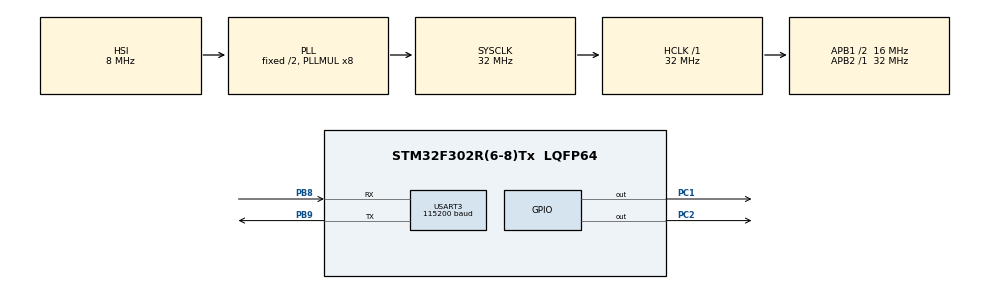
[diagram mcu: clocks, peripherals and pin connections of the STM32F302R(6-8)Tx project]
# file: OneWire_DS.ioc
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Mcu.Family=STM32F3
Mcu.Name=STM32F302R(6-8)Tx
Mcu.Package=LQFP64
NVIC.PriorityGroup=NVIC_PRIORITYGROUP_4
PB8.Mode=Asynchronous
PB8.Signal=USART3_RX
PB9.Mode=Asynchronous
PB9.Signal=USART3_TX
PC1.GPIO_ModeDefaultOutputPP=GPIO_MODE_OUTPUT_OD
PC1.GPIO_PuPd=GPIO_PULLUP
PC1.Signal=GPIO_Output
PC2.PinState=GPIO_PIN_SET
PC2.Signal=GPIO_Output
PF0-OSC_IN.Mode=HSE-External-Oscillator
PF0-OSC_IN.Signal=RCC_OSC_IN
PF1-OSC_OUT.Mode=HSE-External-Oscillator
PF1-OSC_OUT.Signal=RCC_OSC_OUT
ProjectManager.HeapSize=0x200
ProjectManager.StackSize=0x400
ProjectManager.TargetToolchain=MDK-ARM V5.27
RCC.AHBFreq_Value=32000000
RCC.APB1CLKDivider=RCC_HCLK_DIV2
RCC.APB1Freq_Value=16000000
RCC.APB1TimFreq_Value=32000000
RCC.APB2Freq_Value=32000000
RCC.APB2TimFreq_Value=32000000
RCC.CortexFreq_Value=32000000
RCC.HCLKFreq_Value=32000000
RCC.HSE_VALUE=8000000
RCC.HSI_VALUE=8000000
RCC.LSE_VALUE=32768
RCC.PLLMUL=RCC_PLL_MUL8
RCC.SYSCLKFreq_VALUE=32000000
RCC.SYSCLKSourceVirtual=RCC_SYSCLKSOURCE_PLLCLK
RCC.USBFreq_Value=32000000
TIM6.Period=0xffff-1
TIM6.Prescaler=32-1
USART3.BaudRate=115200
USART3.VirtualMode-Asynchronous=VM_ASYNC
VP_TIM6_VS_ClockSourceINT.Mode=Enable_Timer
board=custom

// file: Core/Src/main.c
/* USER CODE BEGIN Header */
/**
  ******************************************************************************
  * @file           : main.c
  * @brief          : Main program body
  ******************************************************************************
  * @attention
  *
  * <h2><center>&copy; Copyright (c) 2021 STMicroelectronics.
  * All rights reserved.</center></h2>
  *
  * This software component is licensed by ST under BSD 3-Clause license,
  * the "License"; You may not use this file except in compliance with the
  * License. You may obtain a copy of the License at:
  *                        opensource.org/licenses/BSD-3-Clause
  *
  ******************************************************************************
  */
/* USER CODE END Header */
#include "main.h"

/* USER CODE BEGIN Includes */
#include "OneWire_Hi4Tech.h"
#include "seqAnalysis.h"
#include "stdio.h"
#include "freqAnalysis.h"
/* USER CODE END Includes */

/* USER CODE BEGIN PTD */
#define DS28E18_PORT GPIOC
#define DS28E18_PIN GPIO_PIN_2
#define PullUp_Pin GPIO_PIN_1

/* USER CODE END PTD */

TIM_HandleTypeDef htim6;

UART_HandleTypeDef huart3;

/* USER CODE BEGIN PV */
char huart2[16];

/* USER CODE END PV */

void SystemClock_Config(void);
static void MX_GPIO_Init(void);
static void MX_TIM6_Init(void);
static void MX_USART3_UART_Init(void);
/* USER CODE BEGIN PFP */
freqAnalyser anal, anal2;
/* USER CODE END PFP */

int main(void)
{

  /* MCU Configuration--------------------------------------------------------*/

  /* Reset of all peripherals, Initializes the Flash interface and the Systick. */
  HAL_Init();

  /* Configure the system clock */
  SystemClock_Config();

  /* Initialize all configured peripherals */
  MX_GPIO_Init();
  MX_TIM6_Init();
  MX_USART3_UART_Init();
  /* USER CODE BEGIN 2 */
	HAL_TIM_Base_Start(&htim6);
	init_mask();
	HAL_GPIO_WritePin(GPIOC, PullUp_Pin, GPIO_PIN_SET);
	init_OW();
	anal = initAnaliser(60./60.);
	anal2 = initAnaliser(75./60.);
  /* USER CODE END 2 */

  /* Infinite loop */
  /* USER CODE BEGIN WHILE */
	uint32_t t0 = HAL_GetTick();
  while (1)
  {
    /* USER CODE END WHILE */

    /* USER CODE BEGIN 3 */

			int16_t val = run_OW();
			if (val < 2000){
				uint32_t t1 = HAL_GetTick();
				processSet(&anal, t1 - t0);
				t0 = t1;
				HAL_UART_Transmit(&huart3, (uint8_t*)huart2, sprintf(huart2, "filter  = %f\n", getScoreSquare(&anal)), 20);
			}

	}
  /* USER CODE END 3 */
}

void SystemClock_Config(void)
{
  RCC_OscInitTypeDef RCC_OscInitStruct = {0};
  RCC_ClkInitTypeDef RCC_ClkInitStruct = {0};

  /** Initializes the RCC Oscillators according to the specified parameters
  * in the RCC_OscInitTypeDef structure.
  */
  RCC_OscInitStruct.OscillatorType = RCC_OSCILLATORTYPE_HSI;
  RCC_OscInitStruct.HSIState = RCC_HSI_ON;
  RCC_OscInitStruct.HSICalibrationValue = RCC_HSICALIBRATION_DEFAULT;
  RCC_OscInitStruct.PLL.PLLState = RCC_PLL_ON;
  RCC_OscInitStruct.PLL.PLLSource = RCC_PLLSOURCE_HSI;
  RCC_OscInitStruct.PLL.PLLMUL = RCC_PLL_MUL8;
  if (HAL_RCC_OscConfig(&RCC_OscInitStruct) != HAL_OK)
  {
    Error_Handler();
  }
  /** Initializes the CPU, AHB and APB buses clocks
  */
  RCC_ClkInitStruct.ClockType = RCC_CLOCKTYPE_HCLK|RCC_CLOCKTYPE_SYSCLK
                              |RCC_CLOCKTYPE_PCLK1|RCC_CLOCKTYPE_PCLK2;
  RCC_ClkInitStruct.SYSCLKSource = RCC_SYSCLKSOURCE_PLLCLK;
  RCC_ClkInitStruct.AHBCLKDivider = RCC_SYSCLK_DIV1;
  RCC_ClkInitStruct.APB1CLKDivider = RCC_HCLK_DIV2;
  RCC_ClkInitStruct.APB2CLKDivider = RCC_HCLK_DIV1;

  if (HAL_RCC_ClockConfig(&RCC_ClkInitStruct, FLASH_LATENCY_1) != HAL_OK)
  {
    Error_Handler();
  }
}

static void MX_TIM6_Init(void)
{

  TIM_MasterConfigTypeDef sMasterConfig = {0};

  htim6.Instance = TIM6;
  htim6.Init.Prescaler = 32-1;
  htim6.Init.CounterMode = TIM_COUNTERMODE_UP;
  htim6.Init.Period = 0xffff-1;
  htim6.Init.AutoReloadPreload = TIM_AUTORELOAD_PRELOAD_DISABLE;
  if (HAL_TIM_Base_Init(&htim6) != HAL_OK)
  {
    Error_Handler();
  }
  sMasterConfig.MasterOutputTrigger = TIM_TRGO_RESET;
  sMasterConfig.MasterSlaveMode = TIM_MASTERSLAVEMODE_DISABLE;
  if (HAL_TIMEx_MasterConfigSynchronization(&htim6, &sMasterConfig) != HAL_OK)
  {
    Error_Handler();
  }

}

static void MX_USART3_UART_Init(void)
{

  huart3.Instance = USART3;
  huart3.Init.BaudRate = 115200;
  huart3.Init.WordLength = UART_WORDLENGTH_8B;
  huart3.Init.StopBits = UART_STOPBITS_1;
  huart3.Init.Parity = UART_PARITY_NONE;
  huart3.Init.Mode = UART_MODE_TX_RX;
  huart3.Init.HwFlowCtl = UART_HWCONTROL_NONE;
  huart3.Init.OverSampling = UART_OVERSAMPLING_16;
  huart3.Init.OneBitSampling = UART_ONE_BIT_SAMPLE_DISABLE;
  huart3.AdvancedInit.AdvFeatureInit = UART_ADVFEATURE_NO_INIT;
  if (HAL_UART_Init(&huart3) != HAL_OK)
  {
    Error_Handler();
  }

}

static void MX_GPIO_Init(void)
{
  GPIO_InitTypeDef GPIO_InitStruct = {0};

  /* GPIO Ports Clock Enable */
  __HAL_RCC_GPIOF_CLK_ENABLE();
  __HAL_RCC_GPIOC_CLK_ENABLE();
  __HAL_RCC_GPIOB_CLK_ENABLE();

  /*Configure GPIO pin Output Level */
  HAL_GPIO_WritePin(GPIOC, GPIO_PIN_1, GPIO_PIN_RESET);

  /*Configure GPIO pin Output Level */
  HAL_GPIO_WritePin(GPIOC, GPIO_PIN_2, GPIO_PIN_SET);

  /*Configure GPIO pin : PC1 */
  GPIO_InitStruct.Pin = GPIO_PIN_1;
  GPIO_InitStruct.Mode = GPIO_MODE_OUTPUT_OD;
  GPIO_InitStruct.Pull = GPIO_PULLUP;
  GPIO_InitStruct.Speed = GPIO_SPEED_FREQ_LOW;
  HAL_GPIO_Init(GPIOC, &GPIO_InitStruct);

  /*Configure GPIO pin : PC2 */
  GPIO_InitStruct.Pin = GPIO_PIN_2;
  GPIO_InitStruct.Mode = GPIO_MODE_OUTPUT_PP;
  GPIO_InitStruct.Pull = GPIO_NOPULL;
  GPIO_InitStruct.Speed = GPIO_SPEED_FREQ_LOW;
  HAL_GPIO_Init(GPIOC, &GPIO_InitStruct);

}

void Error_Handler(void)
{
}

/************************ (C) COPYRIGHT STMicroelectronics *****END OF FILE****/
